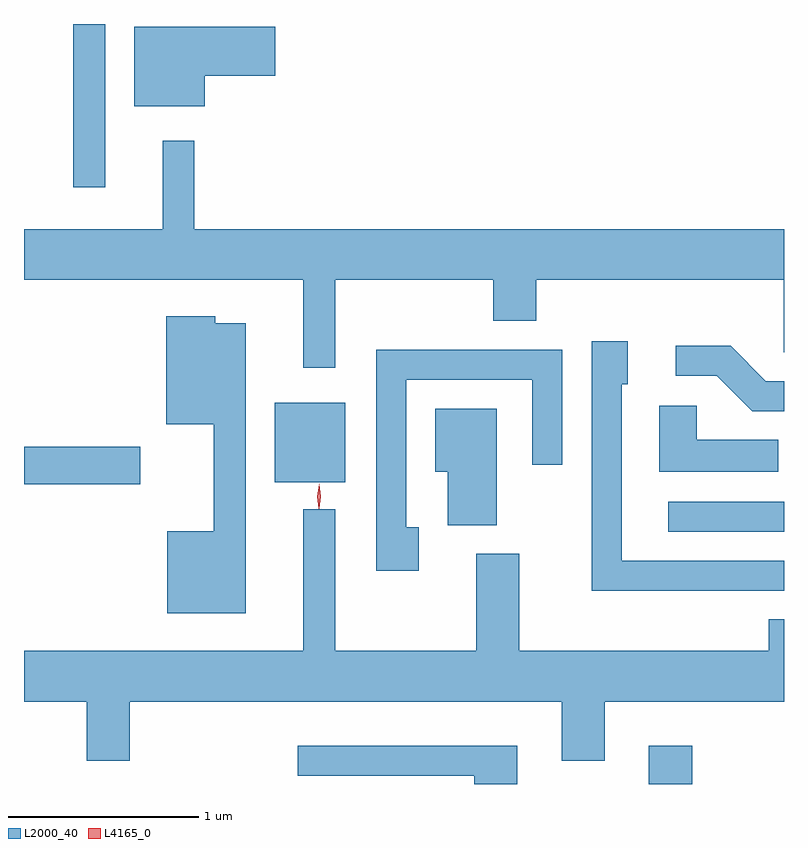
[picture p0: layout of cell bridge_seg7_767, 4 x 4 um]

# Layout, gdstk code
import gdstk
lib = gdstk.Library(unit=1e-6, precision=1e-09)
def R(c, l, rs):  # rectangles x0, y0, x1, y1
    for r in rs: c.add(gdstk.rectangle(r[:2], r[2:], *l))
def P(c, l, *ps):  # polygons
    for p in ps: c.add(gdstk.Polygon(p, *l))
L2000_40 = (2000, 40)
L4165_0 = (4165, 0)

bridge_seg7_767 = lib.new_cell('bridge_seg7_767')
R(bridge_seg7_767, L2000_40, [(238.921,1771.603,239.149,1771.804), (239.023,1772.931,239.632,1773.089), (235.632,1773.181,236.244,1773.379), (236.951,1773.191,237.324,1773.609), (235.891,1774.743,236.059,1775.603)])
P(bridge_seg7_767, L2000_40, [(236.584,1775.331),(236.954,1775.331),(236.954,1775.589),(236.211,1775.589),(236.211,1775.171),(236.584,1775.171)],
  [(236.529,1774.988),(236.361,1774.988),(236.361,1774.524),(235.632,1774.524),(235.632,1774.256),(237.101,1774.256),(237.101,1773.793),(237.269,1773.793),(237.269,1774.256),(238.101,1774.256),(238.101,1774.041),(238.329,1774.041),(238.329,1774.256),(239.631,1774.256),(239.631,1773.876),(239.632,1773.876),(239.632,1774.524),(236.529,1774.524)],
  [(236.799,1774.029),(236.639,1774.029),(236.639,1774.064),(236.381,1774.064),(236.381,1773.496),(236.631,1773.496),(236.631,1772.934),(236.386,1772.934),(236.386,1772.501),(236.799,1772.501)],
  [(239.632,1772.779),(238.779,1772.779),(238.779,1773.706),(238.809,1773.706),(238.809,1773.934),(238.621,1773.934),(238.621,1772.621),(239.632,1772.621)],
  [(239.632,1773.724),(239.537,1773.724),(239.352,1773.909),(239.063,1773.909),(239.063,1773.751),(239.279,1773.751),(239.464,1773.566),(239.632,1773.566)],
  [(237.709,1772.954),(237.644,1772.954),(237.644,1773.731),(238.306,1773.731),(238.306,1773.283),(238.464,1773.283),(238.464,1773.889),(237.486,1773.889),(237.486,1772.726),(237.709,1772.726)],
  [(239.603,1773.414),(239.174,1773.414),(239.174,1773.594),(238.976,1773.594),(238.976,1773.246),(239.603,1773.246)],
  [(238.119,1773.579),(237.796,1773.579),(237.796,1773.246),(237.861,1773.246),(237.861,1772.966),(238.119,1772.966)],
  [(236.189,1772.036),(238.461,1772.036),(238.461,1771.726),(238.689,1771.726),(238.689,1772.036),(239.632,1772.036),(239.632,1772.469),(239.551,1772.469),(239.551,1772.304),(238.239,1772.304),(238.239,1772.814),(238.011,1772.814),(238.011,1772.304),(237.269,1772.304),(237.269,1773.048),(237.101,1773.048),(237.101,1772.304),(235.632,1772.304),(235.632,1772.036),(235.961,1772.036),(235.961,1771.726),(236.189,1771.726)],
  [(238.229,1771.804),(237.073,1771.804),(237.073,1771.646),(238.001,1771.646),(238.001,1771.603),(238.229,1771.603)])
P(bridge_seg7_767, L4165_0, [(237.185,1773.052),(237.184,1773.053),(237.175,1773.117),(237.185,1773.181),(237.186,1773.182),(237.186,1773.181),(237.195,1773.117),(237.186,1773.053)])

lib.write_gds('bridge_seg7_767.gds')
